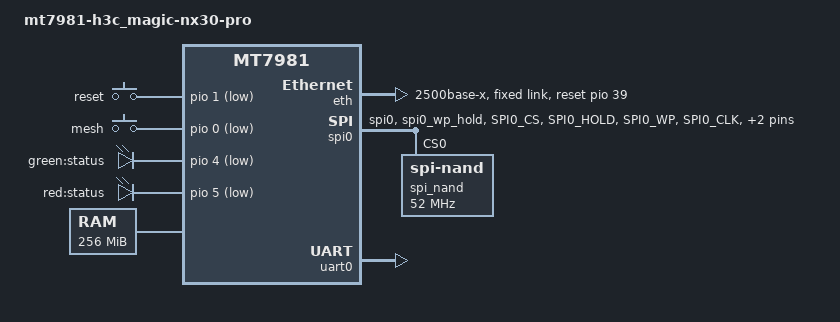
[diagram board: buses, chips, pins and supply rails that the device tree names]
// SPDX-License-Identifier: GPL-2.0-or-later OR MIT

/dts-v1/;
#include "mt7981.dtsi"
#include <dt-bindings/gpio/gpio.h>

/ {
	#address-cells = <1>;
	#size-cells = <1>;
	model = "mt7981-h3c_magic-nx30-pro";
	compatible = "mediatek,mt7981", "mediatek,mt7981-rfb";

	chosen {
		stdout-path = &uart0;
		tick-timer = &timer0;
	};

	config {
		bootcmd = "mtkboardboot";
		blink_led = "green:status";
		system_led = "red:status";
	};

	gpio-keys {
		compatible = "gpio-keys";

		button-reset {
			label = "reset";
			linux,code = <KEY_RESTART>;
			gpios = <&pio 1 GPIO_ACTIVE_LOW>;
		};

		button-mesh {
			label = "mesh";
			linux,code = <BTN_9>;
			gpios = <&pio 0 GPIO_ACTIVE_LOW>;
		};
	};

	leds {
		compatible = "gpio-leds";

		led-0 {
			label = "green:status";
			gpios = <&pio 4 GPIO_ACTIVE_LOW>;
		};

		led-1 {
			label = "red:status";
			gpios = <&pio 5 GPIO_ACTIVE_LOW>;
		};
	};

	memory@40000000 {
		device_type = "memory";
		reg = <0x40000000 0x10000000>;
	};

	bl2_verify {
		bl2_compatible = "spim-nand";
	};
};

&eth {
	status = "okay";
	mediatek,gmac-id = <0>;
	phy-mode = "2500base-x";
	mediatek,switch = "auto";
	reset-gpios = <&pio 39 GPIO_ACTIVE_HIGH>;

	fixed-link {
		speed = <2500>;
		full-duplex;
	};
};

&pio {
	spi_flash_pins: spi0-pins-func-1 {
		mux {
			function = "flash";
			groups = "spi0", "spi0_wp_hold";
		};

		conf-pu {
			pins = "SPI0_CS", "SPI0_HOLD", "SPI0_WP";
			drive-strength = <MTK_DRIVE_4mA>;
			bias-pull-up = <MTK_PUPD_SET_R1R0_11>;
		};

		conf-pd {
			pins = "SPI0_CLK", "SPI0_MOSI", "SPI0_MISO";
			drive-strength = <MTK_DRIVE_4mA>;
			bias-pull-down = <MTK_PUPD_SET_R1R0_11>;
		};
	};
};

&spi0 {
	#address-cells = <1>;
	#size-cells = <0>;
	pinctrl-names = "default";
	pinctrl-0 = <&spi_flash_pins>;
	status = "okay";
	must_tx;
	enhance_timing;
	dma_ext;
	ipm_design;
	support_quad;
	tick_dly = <2>;
	sample_sel = <0>;

	spi_nand@0 {
		compatible = "spi-nand";
		reg = <0>;
		spi-max-frequency = <52000000>;
	};
};

&uart0 {
	status = "okay";
};

&watchdog {
	status = "disabled";
};
